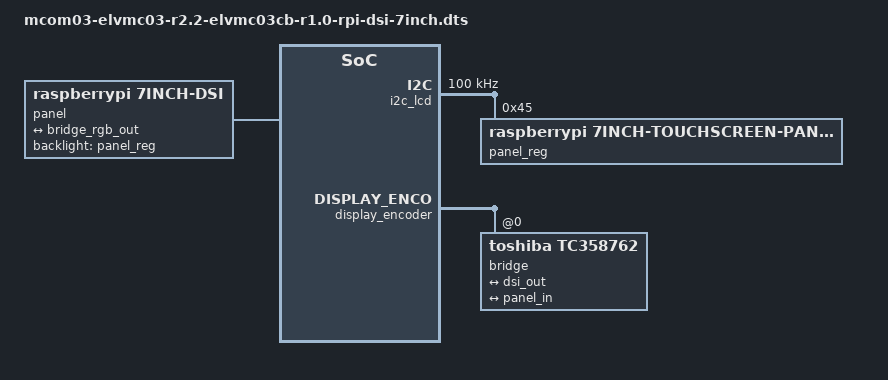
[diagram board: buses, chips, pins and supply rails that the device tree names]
// SPDX-License-Identifier: GPL-2.0+
/*
 * Copyright 2023 RnD Center "ELVEES", JSC
 */

/dts-v1/;

#include "mcom03-elvmc03-r2.2-elvmc03cb-r1.0.dts"

/ {
	panel {
		#address-cells = <1>;
		#size-cells = <0>;
		compatible = "raspberrypi,7inch-dsi";
		backlight = <&panel_reg>;

		ports {
			#address-cells = <1>;
			#size-cells = <0>;

			port {
				panel_in: endpoint {
					remote-endpoint = <&bridge_rgb_out>;
				};
			};
		};
	};
	/*
	 * Here we have to delete sound card because it reffers to adv7513 hdmi bridge
	 */
	/delete-node/ sound;
};

&i2c_lcd {
	clock-frequency = <100000>;
	status = "okay";

	panel_reg: regulator@45 {
		compatible = "raspberrypi,7inch-touchscreen-panel-regulator";
		reg = <0x45>;
		gpio-controller;
		#gpio-cells = <2>;
	};
};

&i2c02 {
	/delete-node/ hdmi@39;
};

&display_encoder {
	video-output = "dsi";
	status = "okay";

	bridge@0 {
		#address-cells = <1>;
		#size-cells = <0>;
		compatible = "toshiba,tc358762";
		reg = <0>;

		ports {
			#address-cells = <1>;
			#size-cells = <0>;

			port@0 {
				reg = <0>;

				bridge_in: endpoint {
					remote-endpoint = <&dsi_out>;
				};
			};

			port@1 {
				reg = <1>;

				bridge_rgb_out: endpoint {
					remote-endpoint = <&panel_in>;
				};
			};
		};
	};

	ports {
		/delete-node/ port@2;

		port@1 {
			reg = <1>;

			dsi_out: endpoint {
				remote-endpoint = <&bridge_in>;
			};
		};
	};
};
